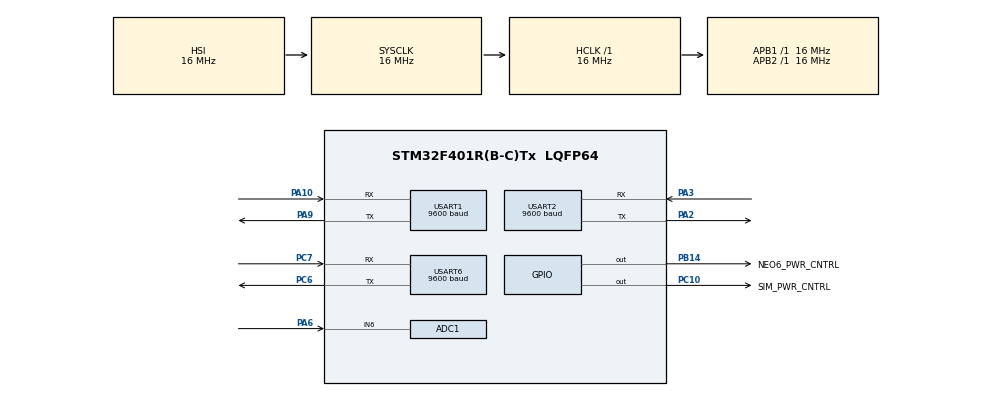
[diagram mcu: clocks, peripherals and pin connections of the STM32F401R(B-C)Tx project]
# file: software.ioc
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ADC1.Channel-1\#ChannelRegularConversion=ADC_CHANNEL_6
ADC1.NbrOfConversionFlag=1
ADC1.Rank-1\#ChannelRegularConversion=1
ADC1.SamplingTime-1\#ChannelRegularConversion=ADC_SAMPLETIME_3CYCLES
ADC1.master=1
Mcu.Family=STM32F4
Mcu.Name=STM32F401R(B-C)Tx
Mcu.Package=LQFP64
NVIC.ADC_IRQn=true\:14\:0\:true\:false\:true\:true\:true\:true
NVIC.PriorityGroup=NVIC_PRIORITYGROUP_4
NVIC.RTC_Alarm_IRQn=true\:14\:0\:true\:false\:true\:true\:true\:true
NVIC.TIM1_UP_TIM10_IRQn=true\:15\:0\:false\:false\:true\:false\:true\:true
NVIC.TimeBase=TIM1_UP_TIM10_IRQn
NVIC.TimeBaseIP=TIM1
NVIC.USART1_IRQn=true\:14\:0\:true\:false\:true\:true\:true\:true
NVIC.USART2_IRQn=true\:14\:0\:true\:false\:true\:true\:true\:true
NVIC.USART6_IRQn=true\:14\:0\:true\:false\:true\:true\:true\:true
PA10.Mode=Asynchronous
PA10.Signal=USART1_RX
PA13.Signal=SYS_JTMS-SWDIO
PA14.Signal=SYS_JTCK-SWCLK
PA2.Mode=Asynchronous
PA2.Signal=USART2_TX
PA3.Mode=Asynchronous
PA3.Signal=USART2_RX
PA6.Signal=ADCx_IN6
PA9.Mode=Asynchronous
PA9.Signal=USART1_TX
PB14.GPIO_Label=NEO6_PWR_CNTRL
PB14.PinState=GPIO_PIN_SET
PB14.Signal=GPIO_Output
PC10.GPIO_Label=SIM_PWR_CNTRL
PC10.GPIO_Speed=GPIO_SPEED_FREQ_HIGH
PC10.Signal=GPIO_Output
PC14-OSC32_IN.Mode=LSE-External-Oscillator
PC14-OSC32_IN.Signal=RCC_OSC32_IN
PC15-OSC32_OUT.Mode=LSE-External-Oscillator
PC15-OSC32_OUT.Signal=RCC_OSC32_OUT
PC6.Mode=Asynchronous
PC6.Signal=USART6_TX
PC7.Mode=Asynchronous
PC7.Signal=USART6_RX
ProjectManager.HeapSize=0x200
ProjectManager.StackSize=0x400
ProjectManager.TargetToolchain=STM32CubeIDE
RCC.AHBFreq_Value=16000000
RCC.APB1Freq_Value=16000000
RCC.APB2Freq_Value=16000000
RCC.CortexFreq_Value=16000000
RCC.HSE_VALUE=45000000
RCC.HSI_VALUE=16000000
RCC.SYSCLKFreq_VALUE=16000000
RCC.VCOOutputFreq_Value=192000000
RTC.Alarm=RTC_ALARM_A
RTC.AlarmMaskDateWeekDay=RTC_ALARMMASK_DATEWEEKDAY
RTC.Format=RTC_FORMAT_BIN
SH.ADCx_IN6.0=ADC1_IN6,IN6
USART1.BaudRate=9600
USART1.VirtualMode=VM_ASYNC
USART2.BaudRate=9600
USART2.VirtualMode=VM_ASYNC
USART6.BaudRate=9600
USART6.VirtualMode=VM_ASYNC
VP_RTC_VS_RTC_Activate.Mode=RTC_Enabled
VP_RTC_VS_RTC_Alarm_A_Intern.Mode=Alarm A
VP_RTC_VS_RTC_Calendar.Mode=RTC_Calendar
VP_SYS_VS_tim1.Mode=TIM1
board=custom

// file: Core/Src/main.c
/* USER CODE BEGIN Header */
/**
  ******************************************************************************
  * @file           : main.c
  * @brief          : Main program body
  ******************************************************************************
  * @attention
  *
  * Copyright (c) 2024 STMicroelectronics.
  * All rights reserved.
  *
  * This software is licensed under terms that can be found in the LICENSE file
  * in the root directory of this software component.
  * If no LICENSE file comes with this software, it is provided AS-IS.
  *
  ******************************************************************************
  */
/* USER CODE END Header */
#include "main.h"

/* USER CODE BEGIN Includes */

#include "application_tasks.h"

/* USER CODE END Includes */

ADC_HandleTypeDef hadc1;

RTC_HandleTypeDef hrtc;

UART_HandleTypeDef huart1;
UART_HandleTypeDef huart2;
UART_HandleTypeDef huart6;

/* USER CODE BEGIN PV */

UART_HandleTypeDef *sim800_uart = &huart2;
UART_HandleTypeDef *gps_uart = &huart6;

SIM800_Handle_t sim800h = {0};
NEO6M_Handle_t neo6mh = {0};

QueueHandle_t xCommandQueue;
QueueHandle_t xSMSToSendQueue;
QueueHandle_t xNumbersToSendGPSQueue;
QueueHandle_t xNumbersToSendVoltageQueue;
QueueHandle_t xTimeToRTCAlarmQueue;
QueueHandle_t xGPSCoordinatesQueue;
QueueHandle_t xADCValueQueue;

TaskHandle_t xSim800ResetTaskHandle;
TaskHandle_t xCmdProcessTaskHandle;
TaskHandle_t xSendGPSTaskHandle;
TaskHandle_t xSendVoltageTaskHandle;
TaskHandle_t xSendCurrentAlarmTaskHandle;
TaskHandle_t xSendSMSTaskHandle;
TaskHandle_t xConfigRTCAlarmTaskHandle;

uint32_t currentTime = 0;

char phoneNumberForNotify[PHONE_NUMBER_MAX_LENGHT];

/* USER CODE END PV */

void SystemClock_Config(void);
static void MX_GPIO_Init(void);
static void MX_USART1_UART_Init(void);
static void MX_USART2_UART_Init(void);
static void MX_USART6_UART_Init(void);
static void MX_ADC1_Init(void);
static void MX_RTC_Init(void);
/* USER CODE BEGIN PFP */

static void set_current_time(void);

/* USER CODE END PFP */

int main(void)
{

  /* MCU Configuration--------------------------------------------------------*/

  /* Reset of all peripherals, Initializes the Flash interface and the Systick. */
  HAL_Init();

  /* Configure the system clock */
  SystemClock_Config();

  /* Initialize all configured peripherals */
  MX_GPIO_Init();
  MX_USART1_UART_Init();
  MX_USART2_UART_Init();
  MX_USART6_UART_Init();
  MX_ADC1_Init();
  MX_RTC_Init();
  /* USER CODE BEGIN 2 */

    set_current_time();

    HAL_RTC_DeactivateAlarm(&hrtc, RTC_ALARM_A);

    xCommandQueue = xQueueCreate(COMMAND_QUEUE_LEGHT, sizeof( SMS_t ));
    xSMSToSendQueue = xQueueCreate(SMS_QUEUE_LEGHT, sizeof( SMS_t ));
    xNumbersToSendGPSQueue = xQueueCreate(SEND_GPS_QUEUE_LENGHT, PHONE_NUMBER_MAX_LENGHT);
    xNumbersToSendVoltageQueue = xQueueCreate(SEND_VOLTAGE_QUEUE_LENGHT, PHONE_NUMBER_MAX_LENGHT);
    xTimeToRTCAlarmQueue = xQueueCreate(ALARM_TIME_QUEUE_LENGHT, sizeof( uint32_t ));
    xGPSCoordinatesQueue = xQueueCreate(GPS_QUEUE_LEGHT, sizeof( Coordinates_t ));
    xADCValueQueue = xQueueCreate(ADC_QUEUE_LEGHT, sizeof( uint32_t ));

    create_tasks();

    vTaskStartScheduler();

  /* USER CODE END 2 */

  /* Infinite loop */
  while (1)
  {

  }
}

void SystemClock_Config(void)
{
  RCC_OscInitTypeDef RCC_OscInitStruct = {0};
  RCC_ClkInitTypeDef RCC_ClkInitStruct = {0};

  /** Configure the main internal regulator output voltage
  */
  __HAL_RCC_PWR_CLK_ENABLE();
  __HAL_PWR_VOLTAGESCALING_CONFIG(PWR_REGULATOR_VOLTAGE_SCALE2);

  /** Initializes the RCC Oscillators according to the specified parameters
  * in the RCC_OscInitTypeDef structure.
  */
  RCC_OscInitStruct.OscillatorType = RCC_OSCILLATORTYPE_HSI|RCC_OSCILLATORTYPE_LSI;
  RCC_OscInitStruct.HSIState = RCC_HSI_ON;
  RCC_OscInitStruct.HSICalibrationValue = RCC_HSICALIBRATION_DEFAULT;
  RCC_OscInitStruct.LSIState = RCC_LSI_ON;
  RCC_OscInitStruct.PLL.PLLState = RCC_PLL_NONE;
  if (HAL_RCC_OscConfig(&RCC_OscInitStruct) != HAL_OK)
  {
    Error_Handler();
  }

  /** Initializes the CPU, AHB and APB buses clocks
  */
  RCC_ClkInitStruct.ClockType = RCC_CLOCKTYPE_HCLK|RCC_CLOCKTYPE_SYSCLK
                              |RCC_CLOCKTYPE_PCLK1|RCC_CLOCKTYPE_PCLK2;
  RCC_ClkInitStruct.SYSCLKSource = RCC_SYSCLKSOURCE_HSI;
  RCC_ClkInitStruct.AHBCLKDivider = RCC_SYSCLK_DIV1;
  RCC_ClkInitStruct.APB1CLKDivider = RCC_HCLK_DIV1;
  RCC_ClkInitStruct.APB2CLKDivider = RCC_HCLK_DIV1;

  if (HAL_RCC_ClockConfig(&RCC_ClkInitStruct, FLASH_LATENCY_0) != HAL_OK)
  {
    Error_Handler();
  }
}

static void MX_ADC1_Init(void)
{

  ADC_ChannelConfTypeDef sConfig = {0};

  /** Configure the global features of the ADC (Clock, Resolution, Data Alignment and number of conversion)
  */
  hadc1.Instance = ADC1;
  hadc1.Init.ClockPrescaler = ADC_CLOCK_SYNC_PCLK_DIV2;
  hadc1.Init.Resolution = ADC_RESOLUTION_12B;
  hadc1.Init.ScanConvMode = DISABLE;
  hadc1.Init.ContinuousConvMode = DISABLE;
  hadc1.Init.DiscontinuousConvMode = DISABLE;
  hadc1.Init.ExternalTrigConvEdge = ADC_EXTERNALTRIGCONVEDGE_NONE;
  hadc1.Init.ExternalTrigConv = ADC_SOFTWARE_START;
  hadc1.Init.DataAlign = ADC_DATAALIGN_RIGHT;
  hadc1.Init.NbrOfConversion = 1;
  hadc1.Init.DMAContinuousRequests = DISABLE;
  hadc1.Init.EOCSelection = ADC_EOC_SINGLE_CONV;
  if (HAL_ADC_Init(&hadc1) != HAL_OK)
  {
    Error_Handler();
  }

  /** Configure for the selected ADC regular channel its corresponding rank in the sequencer and its sample time.
  */
  sConfig.Channel = ADC_CHANNEL_6;
  sConfig.Rank = 1;
  sConfig.SamplingTime = ADC_SAMPLETIME_3CYCLES;
  if (HAL_ADC_ConfigChannel(&hadc1, &sConfig) != HAL_OK)
  {
    Error_Handler();
  }

}

static void MX_RTC_Init(void)
{

  RTC_TimeTypeDef sTime = {0};
  RTC_DateTypeDef sDate = {0};
  RTC_AlarmTypeDef sAlarm = {0};

  /** Initialize RTC Only
  */
  hrtc.Instance = RTC;
  hrtc.Init.HourFormat = RTC_HOURFORMAT_24;
  hrtc.Init.AsynchPrediv = 127;
  hrtc.Init.SynchPrediv = 255;
  hrtc.Init.OutPut = RTC_OUTPUT_DISABLE;
  hrtc.Init.OutPutPolarity = RTC_OUTPUT_POLARITY_HIGH;
  hrtc.Init.OutPutType = RTC_OUTPUT_TYPE_OPENDRAIN;
  if (HAL_RTC_Init(&hrtc) != HAL_OK)
  {
    Error_Handler();
  }

  /** Initialize RTC and set the Time and Date
  */
  sTime.Hours = 0;
  sTime.Minutes = 0;
  sTime.Seconds = 0;
  sTime.DayLightSaving = RTC_DAYLIGHTSAVING_NONE;
  sTime.StoreOperation = RTC_STOREOPERATION_RESET;
  if (HAL_RTC_SetTime(&hrtc, &sTime, RTC_FORMAT_BIN) != HAL_OK)
  {
    Error_Handler();
  }
  sDate.WeekDay = RTC_WEEKDAY_MONDAY;
  sDate.Month = RTC_MONTH_JANUARY;
  sDate.Date = 1;
  sDate.Year = 0;

  if (HAL_RTC_SetDate(&hrtc, &sDate, RTC_FORMAT_BIN) != HAL_OK)
  {
    Error_Handler();
  }

  /** Enable the Alarm A
  */
  sAlarm.AlarmTime.Hours = 0;
  sAlarm.AlarmTime.Minutes = 0;
  sAlarm.AlarmTime.Seconds = 0;
  sAlarm.AlarmTime.SubSeconds = 0;
  sAlarm.AlarmTime.DayLightSaving = RTC_DAYLIGHTSAVING_NONE;
  sAlarm.AlarmTime.StoreOperation = RTC_STOREOPERATION_RESET;
  sAlarm.AlarmMask = RTC_ALARMMASK_DATEWEEKDAY;
  sAlarm.AlarmSubSecondMask = RTC_ALARMSUBSECONDMASK_ALL;
  sAlarm.AlarmDateWeekDaySel = RTC_ALARMDATEWEEKDAYSEL_DATE;
  sAlarm.AlarmDateWeekDay = 1;
  sAlarm.Alarm = RTC_ALARM_A;
  if (HAL_RTC_SetAlarm_IT(&hrtc, &sAlarm, RTC_FORMAT_BIN) != HAL_OK)
  {
    Error_Handler();
  }

}

static void MX_USART1_UART_Init(void)
{

  huart1.Instance = USART1;
  huart1.Init.BaudRate = 9600;
  huart1.Init.WordLength = UART_WORDLENGTH_8B;
  huart1.Init.StopBits = UART_STOPBITS_1;
  huart1.Init.Parity = UART_PARITY_NONE;
  huart1.Init.Mode = UART_MODE_TX_RX;
  huart1.Init.HwFlowCtl = UART_HWCONTROL_NONE;
  huart1.Init.OverSampling = UART_OVERSAMPLING_16;
  if (HAL_UART_Init(&huart1) != HAL_OK)
  {
    Error_Handler();
  }

}

static void MX_USART2_UART_Init(void)
{

  huart2.Instance = USART2;
  huart2.Init.BaudRate = 9600;
  huart2.Init.WordLength = UART_WORDLENGTH_8B;
  huart2.Init.StopBits = UART_STOPBITS_1;
  huart2.Init.Parity = UART_PARITY_NONE;
  huart2.Init.Mode = UART_MODE_TX_RX;
  huart2.Init.HwFlowCtl = UART_HWCONTROL_NONE;
  huart2.Init.OverSampling = UART_OVERSAMPLING_16;
  if (HAL_UART_Init(&huart2) != HAL_OK)
  {
    Error_Handler();
  }

}

static void MX_USART6_UART_Init(void)
{

  huart6.Instance = USART6;
  huart6.Init.BaudRate = 9600;
  huart6.Init.WordLength = UART_WORDLENGTH_8B;
  huart6.Init.StopBits = UART_STOPBITS_1;
  huart6.Init.Parity = UART_PARITY_NONE;
  huart6.Init.Mode = UART_MODE_TX_RX;
  huart6.Init.HwFlowCtl = UART_HWCONTROL_NONE;
  huart6.Init.OverSampling = UART_OVERSAMPLING_16;
  if (HAL_UART_Init(&huart6) != HAL_OK)
  {
    Error_Handler();
  }

}

static void MX_GPIO_Init(void)
{
  GPIO_InitTypeDef GPIO_InitStruct = {0};

  /* GPIO Ports Clock Enable */
  __HAL_RCC_GPIOC_CLK_ENABLE();
  __HAL_RCC_GPIOA_CLK_ENABLE();
  __HAL_RCC_GPIOB_CLK_ENABLE();

  /*Configure GPIO pin Output Level */
  HAL_GPIO_WritePin(NEO6_PWR_CNTRL_GPIO_Port, NEO6_PWR_CNTRL_Pin, GPIO_PIN_SET);

  /*Configure GPIO pin Output Level */
  HAL_GPIO_WritePin(SIM_PWR_CNTRL_GPIO_Port, SIM_PWR_CNTRL_Pin, GPIO_PIN_RESET);

  /*Configure GPIO pin : NEO6_PWR_CNTRL_Pin */
  GPIO_InitStruct.Pin = NEO6_PWR_CNTRL_Pin;
  GPIO_InitStruct.Mode = GPIO_MODE_OUTPUT_PP;
  GPIO_InitStruct.Pull = GPIO_NOPULL;
  GPIO_InitStruct.Speed = GPIO_SPEED_FREQ_LOW;
  HAL_GPIO_Init(NEO6_PWR_CNTRL_GPIO_Port, &GPIO_InitStruct);

  /*Configure GPIO pin : SIM_PWR_CNTRL_Pin */
  GPIO_InitStruct.Pin = SIM_PWR_CNTRL_Pin;
  GPIO_InitStruct.Mode = GPIO_MODE_OUTPUT_PP;
  GPIO_InitStruct.Pull = GPIO_NOPULL;
  GPIO_InitStruct.Speed = GPIO_SPEED_FREQ_HIGH;
  HAL_GPIO_Init(SIM_PWR_CNTRL_GPIO_Port, &GPIO_InitStruct);

}

/* USER CODE BEGIN 4 */

/**
 * @brief  Callback function called when data is received on UART.
 * @param  huart Pointer to the UART handle structure.
 * @retval None
 */
void HAL_UART_RxCpltCallback(UART_HandleTypeDef *huart)
{
  /* Check if the received data is from the SIM800 module */
  if(huart == sim800_uart)
  {
    /* Call the SIM800 message handler */
    SIM800_MessageHandler(&sim800h);
  }
  /* Check if the received data is from the NEO6M GPS module */
  else if( huart == gps_uart )
  {
    /* Call the NEO6M message handler */
    NEO6M_MessageHandler(&neo6mh);
  }
}

/**
 * @brief  Callback function called when ADC conversion is completed.
 * @param  hadc Pointer to the ADC handle structure.
 * @retval None
 */
void HAL_ADC_ConvCpltCallback(ADC_HandleTypeDef* hadc)
{
  uint32_t adc_value = 0;

  /* Get the ADC conversion value */
  adc_value = HAL_ADC_GetValue(hadc);

  /* Send the ADC value to the queue from the interrupt context */
  xQueueSendFromISR( xADCValueQueue, ( void * )&adc_value, NULL );
}

/**
 * @brief  Callback function called when an RMC message is received from the NEO6M GPS module.
 * @param  package Pointer to the RMC package data structure.
 * @retval None
 */
void NEO6M_RMCCallBack(void *package)
{
    RMC_Package_t *rmc_package = (RMC_Package_t *)package;
    Coordinates_t cor = {0};

    /* Check if valid latitude and longitude values are received */
    if( rmc_package->latitude != 0 && rmc_package->longitude != 0 )
    {
        /* Store the coordinates in the local structure */
        cor.latitude = rmc_package->latitude;
        cor.longitude = rmc_package->longitude;

        /* Send the coordinates to the queue from the interrupt context */
        xQueueSendFromISR( xGPSCoordinatesQueue, ( void * ) &cor, NULL );
    }
}

/**
 * @brief  Callback function called when a GLL message is received from the NEO6M GPS module.
 * @param  package Pointer to the GLL package data structure.
 * @retval None
 */
void NEO6M_GLLCallBack(void *package)
{
    GLL_Package_t *gll_package = (GLL_Package_t *)package;

    /* Check if valid latitude and longitude values are received */
    if( gll_package->latitude != 0 && gll_package->longitude != 0 )
    {
        /* Update the current time based on the received time from the GLL message */
        currentTime = gll_package->time + 30000;
        if(currentTime > 240000)
        {
            currentTime -= 240000;
        }
    }
}

/**
 * @brief  Callback function called when a new SMS notification is received by the SIM800 module.
 * @param  handle Pointer to the SIM800 handle structure.
 * @param  sms_index Index of the received SMS message.
 * @retval None
 */
void SIM800_NewSMSNotificationCallBack(SIM800_Handle_t *handle, uint32_t sms_index)
{
    /* Request the SIM800 module to send the received SMS message */
    SIM800_RequestSMSMessage(handle, sms_index);
}

/**
 * @brief  Callback function called when an SMS message is received by the SIM800 module.
 * @param  handle Pointer to the SIM800 handle structure.
 * @param  message Pointer to the received SMS message structure.
 * @retval None
 */
void SIM800_RcvdSMSCallBack(SIM800_Handle_t *handle, SIM800_SMSMessage_t *message)
{
    SMS_t cmd_buff = {0};
    size_t phone_number_size = 0, sms_message_size = 0;

    /* Get the length of the phone number and SMS message */
    phone_number_size = strlen(message->sender);
    sms_message_size = strlen(message->text);

    /* Truncate the phone number if it exceeds the maximum allowed length */
    if( phone_number_size > SMS_SENDER_MAX_LEN)
    {
        message->sender[SMS_SENDER_MAX_LEN] = '\0';
    }

    /* Truncate the SMS message if it exceeds the maximum allowed length */
    if( sms_message_size > SMS_TEXT_MAX_LEN)
    {
        message->text[SMS_TEXT_MAX_LEN] = '\0';
    }

    /* Copy the phone number and SMS message to the command buffer */
    strcpy((char *)&cmd_buff.number, message->sender);
    strcpy((char *)&cmd_buff.message, message->text);

    /* Send the command buffer to the queue from the interrupt context */
    xQueueSendFromISR( xCommandQueue, ( void * ) &cmd_buff, NULL );
}

/**
 * @brief  Callback function called when the RTC alarm event occurs.
 * @param  hrtc Pointer to the RTC handle structure.
 * @retval None
 */
void HAL_RTC_AlarmAEventCallback(RTC_HandleTypeDef *hrtc)
{
    /* Send the phone number for notification to the queue for sending GPS coordinates */
    xQueueSendFromISR( xNumbersToSendGPSQueue, phoneNumberForNotify, 0 );
}

/**
 * @brief  Function to set the current time in the RTC using the GPS module.
 * @param  None
 * @retval None
 */
static void set_current_time(void)
{
    RTC_TimeTypeDef sTime;
    uint8_t hrs = 0, min = 0, sec = 0;

    /* Enable power to the GPS module */
    HAL_GPIO_WritePin(NEO6_PWR_CNTRL_GPIO_Port, NEO6_PWR_CNTRL_Pin, RESET);
    /* Add the GLL message type to the expected message list */
    NEO6M_AddExpectedMessage(&neo6mh, GLL);

    /* Wait until the current time is updated from the GLL message */
    while( !currentTime );

    /* Remove the GLL message type from the expected message list */
    NEO6M_RemoveExpectedMessage(&neo6mh, GLL);
    /* Disable power to the GPS module */
    HAL_GPIO_WritePin(NEO6_PWR_CNTRL_GPIO_Port, NEO6_PWR_CNTRL_Pin, SET);

    /* Extract the hours, minutes, and seconds from the current time */
    hrs = currentTime / 10000;
    min = ( currentTime - hrs * 10000 ) / 100;
    sec = currentTime - ( hrs * 10000 + min * 100 );

    /* Configure the RTC time structure */
    sTime.Hours = hrs;
    sTime.Minutes = min;
    sTime.Seconds = sec;
    sTime.TimeFormat = RTC_HOURFORMAT12_AM;
    sTime.DayLightSaving = RTC_DAYLIGHTSAVING_NONE;
    sTime.StoreOperation = RTC_STOREOPERATION_RESET;

    /* Set the RTC time */
    HAL_RTC_SetTime(&hrtc, &sTime, RTC_FORMAT_BIN);
}

/* USER CODE END 4 */

void HAL_TIM_PeriodElapsedCallback(TIM_HandleTypeDef *htim)
{
  if (htim->Instance == TIM1) {
    HAL_IncTick();
  }
}

void Error_Handler(void)
{
  __disable_irq();
  while (1)
  {
  }
}
